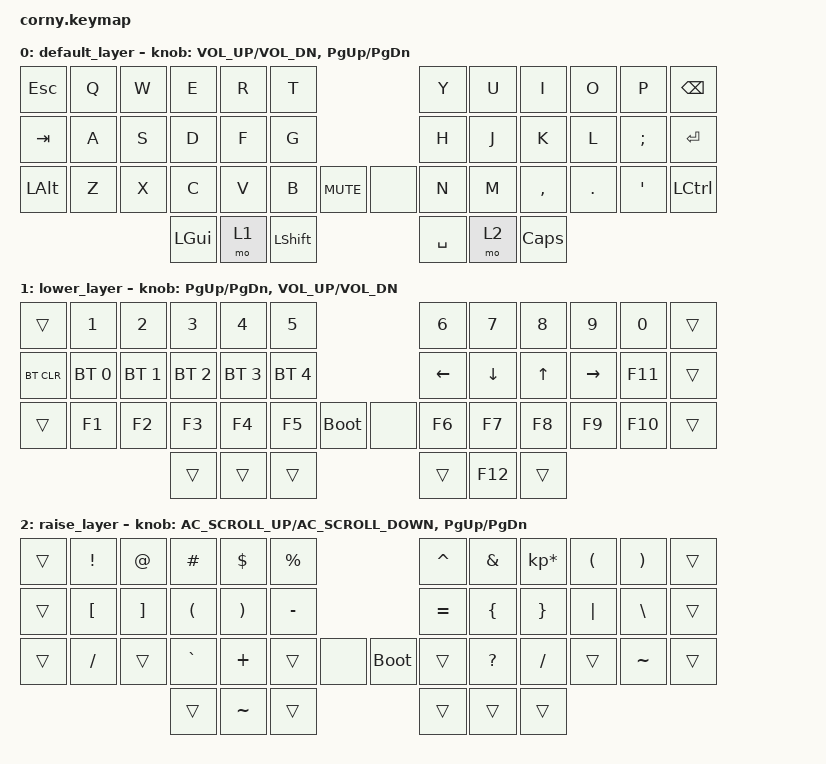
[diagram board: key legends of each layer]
#include <behaviors.dtsi>
#include <dt-bindings/zmk/keys.h>
#include <dt-bindings/zmk/bt.h>

/ {
        keymap {
                compatible = "zmk,keymap";

                default_layer {
// -------------------------------------------------------------------------------------------------
// | ESC  |  Q  |  W  |  E  |  R  |  T  |                    |  Y  |  U  |  I  |  O  |  P  | BKSP |
// | TAB  |  A  |  S  |  D  |  F  |  G  |                    |  H  |  J  |  K  |  L  |  ;  | RET  |
// | ALT  |  Z  |  X  |  C  |  V  |  B  |  MUTE  |  |        |  N  |  M  |  ,  |  .  |  '  | CTRL |
//                    | GUI | LWR | SHFT |                   | SPC | RSE |  -  |
                        bindings = <
   &kp ESC   &kp Q &kp W &kp E     &kp R &kp T                        &kp Y      &kp U &kp I     &kp O   &kp P    &kp BSPC
   &kp TAB   &kp A &kp S &kp D     &kp F &kp G                        &kp H      &kp J &kp K     &kp L   &kp SEMI &kp RET
   &kp LALT  &kp Z &kp X &kp C     &kp V &kp B     &kp C_MUTE  &none  &kp N      &kp M &kp COMMA &kp DOT &kp SQT  &kp LCTRL
                         &kp LGUI  &mo 1 &kp LSHFT                    &kp SPACE  &mo 2 &kp CAPS
                        >;

                        sensor-bindings = <&inc_dec_kp C_VOL_UP C_VOL_DN &inc_dec_kp PG_UP PG_DN>;
                };
                lower_layer {
// ------------------------------------------------------------------------------------------------
// |       |  1  |  2  |  3   |  4  |  5  |                    |  6    |  7  |  8   |  9  |  0  |   |
// | BTCLR | BT1 | BT2 | BT3  | BT4 | BT5 |                    | LFT   | DWN |  UP  | RGT | F11 |   |
// |       | F1  | F2  | F3   | F4  | F5  |  boot  |  |        | F6    |  F7 |  F8  | F9  | F10 |   |
//                     |      |     |     |                    |       | F12 |      |
                        bindings = <
   &trans     &kp N1       &kp N2       &kp N3       &kp N4       &kp N5                           &kp N6   &kp N7   &kp N8 &kp N9    &kp N0   &trans
   &bt BT_CLR &bt BT_SEL 0 &bt BT_SEL 1 &bt BT_SEL 2 &bt BT_SEL 3 &bt BT_SEL 4                     &kp LEFT &kp DOWN &kp UP &kp RIGHT &kp F11  &trans
   &trans     &kp F1       &kp F2       &kp F3       &kp F4       &kp F5       &bootloader  &none  &kp F6   &kp F7   &kp F8 &kp F9    &kp F10  &trans
                                        &trans       &trans       &trans                           &trans   &kp F12  &trans
                        >;

                        sensor-bindings = <&inc_dec_kp PG_UP PG_DN &inc_dec_kp C_VOL_UP C_VOL_DN>;
                };

                raise_layer {
// ------------------------------------------------------------------------------------------------
// |   |  !  |  @  |  #   |  $  |  %    |                    |  ^  |  &  |  *  |  (  |  )  |   |
// |   |  [  |  ]  |  (   |  )  |  _    |                    |  =  |  {  |  }  | "|" |  \  |   |
// |   |  /  |     |  `   |  +  |       |        |  |  boot  |     |  ?  |  /  |     |  ~  |   |
//                 |      |  ~  |       |                    |     |     |     |
                        bindings = <
   &trans  &kp EXCL &kp AT   &kp HASH  &kp DLLR   &kp PRCNT                    &kp CARET &kp AMPS  &kp KP_MULTIPLY &kp LPAR &kp RPAR  &trans
   &trans  &kp LBKT &kp RBKT &kp LPAR  &kp RPAR   &kp MINUS                    &kp EQUAL &kp LBRC  &kp RBRC        &kp PIPE &kp BSLH  &trans
   &trans  &kp FSLH &trans   &kp GRAVE &kp PLUS   &trans    &none  &bootloader &trans    &kp QMARK &kp FSLH        &trans   &kp TILDE &trans
                             &trans    &kp TILDE  &trans                       &trans    &trans    &trans
                        >;

                        sensor-bindings = <&inc_dec_kp C_AC_SCROLL_UP C_AC_SCROLL_DOWN &inc_dec_kp PG_UP PG_DN>;
                };
        };
};
